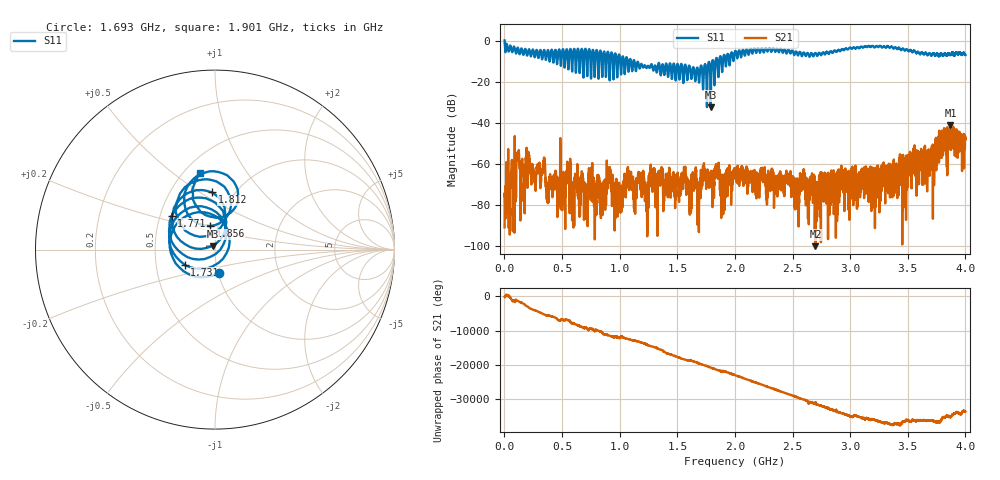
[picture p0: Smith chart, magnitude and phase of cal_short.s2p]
!Created with skrf (http://scikit-rf.org).
# GHz S RI R 50.0
!freq ReS11 ImS11 ReS21 ImS21 ReS12 ImS12 ReS22 ImS22
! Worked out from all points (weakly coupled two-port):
!   4000 points, 1 MHz to 4 GHz, reference 50 ohm
!   highest |S21| = -40.91 dB at 3.87 GHz (marker M1); lowest = -100.2 dB at 2.699 GHz (marker M2)
!   lowest |S11| = -32.2 dB at 1.79 GHz (marker M3), VSWR 1.05, Z = 48.6 + j2.02 ohm
!   |S11| at or under -10 dB: 1.129 GHz to 1.154 GHz (24.37 MHz wide, 2.14 % of centre); 1.158 GHz to 1.775 GHz (616.6 MHz wide, 42 % of centre); 1.775 GHz to 1.802 GHz (26.91 MHz wide, 1.5 % of centre) (the widest 3 of 30)
!   S12 and S22 are empty: the file has one direction only
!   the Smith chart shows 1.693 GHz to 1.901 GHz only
!   S11 on the Smith chart (normalised r, x): 1.693 GHz: 1.00, -0.27; 1.731 GHz: 0.70, -0.12; 1.771 GHz: 0.58, +0.24; 1.812 GHz: 0.79, +0.56; 1.856 GHz: 0.91, +0.24; 1.901 GHz: 0.60, +0.63
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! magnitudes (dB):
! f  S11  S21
! 1 MHz  0.5  -91.0
! 90 MHz  -3.7  -68.5
! 116 MHz  -3.1  -57.2
! 157 MHz  -5.3  -59.6
! 200 MHz  -6.5  -65.3
! 338 MHz  -5.1  -58.8
! 375 MHz  -4.3  -75.0
! 668 MHz  -3.8  -66.6
! 1.334 GHz  -11.2  -65.8
! 1.693 GHz  -17.6  -70.2
! 1.731 GHz  -14.5  -59.5
! 1.771 GHz  -10.3  -64.5
! 1.79 GHz  -32.2  -66.4
! 1.812 GHz  -9.9  -67.0
! 1.856 GHz  -17.5  -64.0
! 1.901 GHz  -7.3  -76.7
! 2.001 GHz  -4.9  -62.6
! 2.667 GHz  -5.8  -68.5
! 2.699 GHz  -5.7  -100.2
! 3.334 GHz  -2.7  -62.1
! 3.87 GHz  -6.3  -40.9
! 4 GHz  -6.7  -47.2
